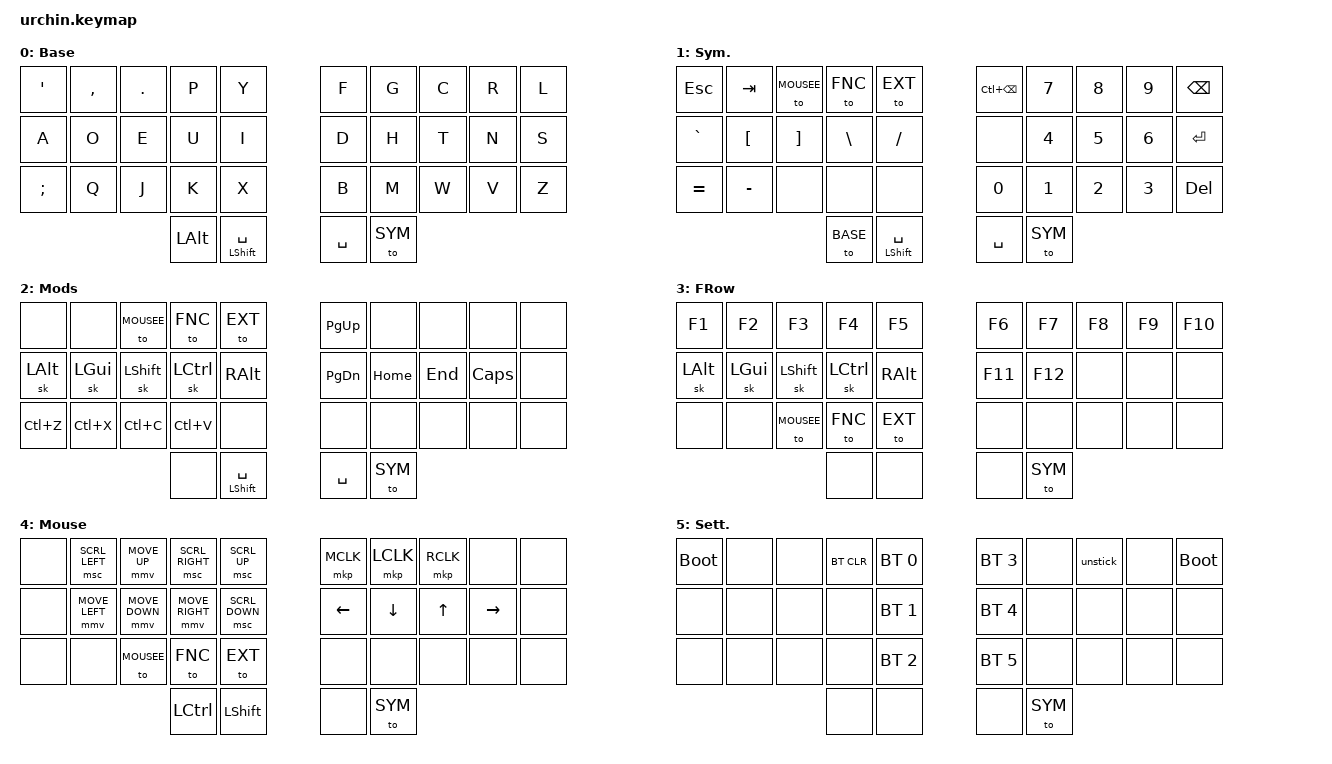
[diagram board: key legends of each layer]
/*
 * Copyright (c) 2020 duckyb
 *
 * SPDX-License-Identifier: MIT
 */

#include <behaviors.dtsi>
#include <dt-bindings/zmk/keys.h>
#include <dt-bindings/zmk/bt.h>
#include <dt-bindings/zmk/outputs.h>
#include <dt-bindings/zmk/mouse.h>

// Layer definitions
#define BASE 0
#define SYM 1
#define EXT 2
#define FNC 3
#define MOUSEE 4
#define SETTINGS 5
// -----------------

&sk {
	// don't release mods on other mods presses
	ignore-modifiers;
};


/ {
	behaviors {
		// Enables holding the first mod-tap key
		// by performing a tap-release-hold sequence.
		// To use it: "&qt KEYCODE1 KEYCODE2"
		qt: quick_tap {
			compatible = "zmk,behavior-hold-tap";
			label = "QUICK_TAP";
			#binding-cells = <2>;
			flavor = "hold-preferred";
			tapping-term-ms = <200>;
			quick-tap-ms = <200>;
			bindings = <&kp>, <&kp>;
		};
	};

	macros {
		// sometimes my device thinks a modifier is being held down
		// pressing all modifiers fixes it.
		unstick: unstick {
			label = "ZM_unstick";
			compatible = "zmk,behavior-macro";
			#binding-cells = <0>;
			bindings = <&kp LSHIFT &kp RSHIFT &kp LCTRL &kp RCTRL &kp LALT &kp RALT &kp LGUI &kp RGUI>;
		};
	};

	combos {
		compatible = "zmk,combos";

		// both left thumb keys
		combo_settings {
			timeout-ms = <200>;
			key-positions = <30 31>;
			bindings = <&mo SETTINGS>;
		};
	};

	keymap {
		compatible = "zmk,keymap";
		// Base alpha layer
		default_layer {
			label = "Base";
			bindings = <
			&kp SINGLE_QUOTE	&kp COMMA	&kp DOT	&kp P 	&kp Y		&kp F	&kp G	&kp C	&kp R		&kp L 
			&kp A 			&kp O 		&kp E 	&kp U 	&kp I		&kp D	&kp H	&kp T	&kp N		&kp S
			&kp SEMICOLON 		&kp Q 		&kp J 	&kp K 	&kp X           &kp B	&kp M	&kp W	&kp V		&kp Z
			&kp LEFT_ALT 		&qt LSHIFT SPACE				&kp SPACE	&to SYM
			>;
		};

		// Numbers and high frequency symbols
		sym_layer {
			label = "Sym.";
			bindings = <
			&kp ESC		&kp TAB 		&to MOUSEE		&to FNC 	&to EXT			&kp LC(BSPC)	&kp N7	&kp N8 	&kp N9 	&kp BSPC
			&kp GRAVE	&kp LEFT_BRACKET 	&kp RIGHT_BRACKET 	&kp BACKSLASH 	&kp SLASH		&none 		&kp N4 	&kp N5 	&kp N6 	&kp ENTER
			&kp EQUAL	&kp MINUS 		&none 			&none 		&none 			&kp N0 		&kp N1	&kp N2 	&kp N3  &kp DEL								
			&to BASE 	&qt LSHIFT SPACE									&kp SPACE 	&to SYM
			>;
		};

		// Main modifiers and arrow keys
		ext_layer {
			label = "Mods";
			bindings = <
			&none		&none 		&to MOUSEE	&to FNC		&to EXT		&kp PG_UP	&none		&none		&none		&none
			&sk LALT 	&sk LGUI  	&sk LSHIFT  	&sk LCTRL  	&kp RALT 	&kp PG_DN 	&kp HOME  	&kp END		&kp CAPS	&none
			&kp LC(Z)	&kp LC(X) 	&kp LC(C) 	&kp LC(V)   	&none          	&none		&none 		&none		&none		&none
			&none 		&qt LSHIFT SPACE	    					&kp SPACE 	&to SYM 
			>;
		};

		// Function keys with modifiers
		fnc_layer {
			label = "FRow";
			bindings = <
			&kp F1		&kp F2 		&kp F3 		&kp F4 		&kp F5			&kp F6 	&kp F7	&kp F8	&kp F9	&kp F10 
			&sk LALT 	&sk LGUI 	&sk LSHIFT 	&sk LCTRL 	&kp RALT     		&kp F11 &kp F12	&none	&none	&none
			&none 		&none 		&to MOUSEE	&to FNC  	&to EXT			&none 	&none	&none	&none	&none 	  
			&none 		&none									&none	&to SYM 
			>;
		};

		mouse_layer {
				label = "Mouse";
				bindings = <
				&none &msc SCRL_LEFT	&mmv MOVE_UP	&msc SCRL_RIGHT	&msc SCRL_UP		&mkp MCLK	&mkp LCLK	&mkp RCLK	&none		&none
				&none &mmv MOVE_LEFT	&mmv MOVE_DOWN	&mmv MOVE_RIGHT &msc SCRL_DOWN		&kp LEFT	&kp DOWN	&kp UP		&kp RIGHT	&none
				&none &none 		&to MOUSEE	&to FNC  	&to EXT			&none		&none		&none		&none		&none
				&kp LCTRL &kp LSHIFT								&none 		&to SYM
				>;
		};

		// Used to change the keyboard's settings.
		settings_layer {
				label = "Sett.";
				bindings = <
				&bootloader &none &none &bt BT_CLR &bt BT_SEL 0		&bt BT_SEL 3 &none &unstick &none &bootloader 
				&none &none &none &none &bt BT_SEL 1 			&bt BT_SEL 4 &none &none &none &none
				&none &none &none &none &bt BT_SEL 2 			&bt BT_SEL 5 &none &none &none &none
				&none &none                         			&none &to SYM 
				>;
		};
	};
};
